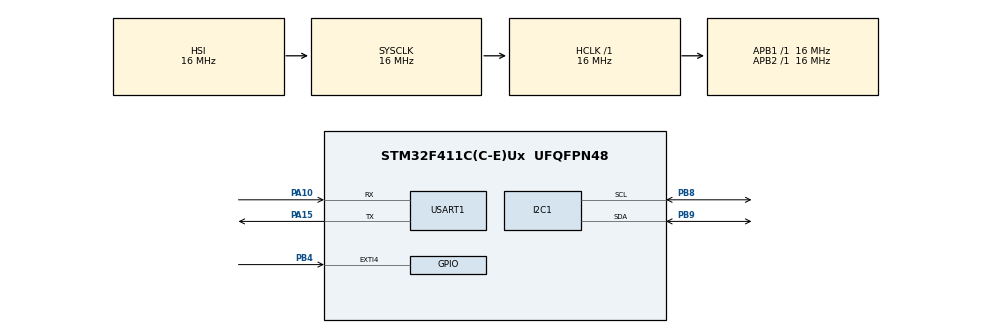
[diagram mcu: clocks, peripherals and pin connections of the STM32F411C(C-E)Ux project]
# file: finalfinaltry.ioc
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Mcu.Family=STM32F4
Mcu.Name=STM32F411C(C-E)Ux
Mcu.Package=UFQFPN48
NVIC.EXTI4_IRQn=true\:0\:0\:false\:false\:true\:true\:true\:true
NVIC.PriorityGroup=NVIC_PRIORITYGROUP_4
PA10.Mode=Asynchronous
PA10.Signal=USART1_RX
PA15.Mode=Asynchronous
PA15.Signal=USART1_TX
PB4.GPIO_ModeDefaultEXTI=GPIO_MODE_IT_FALLING
PB4.GPIO_PuPd=GPIO_PULLUP
PB4.Signal=GPXTI4
PB8.Mode=I2C
PB8.Signal=I2C1_SCL
PB9.Mode=I2C
PB9.Signal=I2C1_SDA
ProjectManager.HeapSize=0x200
ProjectManager.StackSize=0x400
ProjectManager.TargetToolchain=STM32CubeIDE
RCC.AHBFreq_Value=16000000
RCC.APB1Freq_Value=16000000
RCC.APB2Freq_Value=16000000
RCC.CortexFreq_Value=16000000
RCC.HSE_VALUE=25000000
RCC.HSI_VALUE=16000000
RCC.LSE_VALUE=32768
RCC.SYSCLKFreq_VALUE=16000000
RCC.VCOOutputFreq_Value=192000000
USART1.VirtualMode=VM_ASYNC
board=custom

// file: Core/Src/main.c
/* USER CODE BEGIN Header */
/**
  ******************************************************************************
  * @file           : main.c
  * @brief          : Main program body
  ******************************************************************************
  * @attention
  *
  * Copyright (c) 2024 STMicroelectronics.
  * All rights reserved.
  *
  * This software is licensed under terms that can be found in the LICENSE file
  * in the root directory of this software component.
  * If no LICENSE file comes with this software, it is provided AS-IS.
  *
  ******************************************************************************
  */
/* USER CODE END Header */
#include "main.h"

/* USER CODE BEGIN Includes */
#include "ssd1306.h"
#include "ssd1306_tests.h"
#include "max30102_for_stm32_hal.h"
/* USER CODE END Includes */

I2C_HandleTypeDef hi2c1;

UART_HandleTypeDef huart1;

/* USER CODE BEGIN PV */
max30102_t max30102;
/* USER CODE END PV */

void SystemClock_Config(void);
static void MX_GPIO_Init(void);
static void MX_I2C1_Init(void);
static void MX_USART1_UART_Init(void);
/* USER CODE BEGIN PFP */
static void MX_I2C1_Init(void);
/* USER CODE END PFP */

int main(void)
{

  /* MCU Configuration--------------------------------------------------------*/

  /* Reset of all peripherals, Initializes the Flash interface and the Systick. */

	HAL_Init();

  /* Configure the system clock */
  SystemClock_Config();

  /* Initialize all configured peripherals */
  MX_GPIO_Init();
  MX_I2C1_Init();
  MX_USART1_UART_Init();
  /* USER CODE BEGIN 2 */
  // Short delay after initialization
  ssd1306_Init();

  max30102_init(&max30102, &hi2c1);
  max30102_reset(&max30102);
  max30102_clear_fifo(&max30102);
  // FIFO configurations
  max30102_set_fifo_config(&max30102, max30102_smp_ave_8, 1, 7);
  // LED configurations
  max30102_set_led_pulse_width(&max30102, max30102_pw_16_bit);
    max30102_set_adc_resolution(&max30102, max30102_adc_2048);
    max30102_set_sampling_rate(&max30102, max30102_sr_800);
  max30102_set_led_current_1(&max30102, 6.2);
  max30102_set_led_current_2(&max30102, 6.2);
  // Enter SpO2 mode
  max30102_set_mode(&max30102, max30102_spo2);
  // Enable FIFO_A_FULL interrupt
  max30102_set_a_full(&max30102, 1);
  // Enable die temperature measurement
  max30102_set_die_temp_en(&max30102, 1);
  // Enable DIE_TEMP_RDY interrupt
  max30102_set_die_temp_rdy(&max30102, 1);
  /* USER CODE END 2 */

  /* Infinite loop */
  while (1)
  {

    /* USER CODE BEGIN 3 */
	  /*ssd1306_TestFonts1();*/
	  // If interrupt flag is active
	  /*HAL_Delay(1000);*/
	  max30102_interrupt_handler(&max30102);
	   /*if (max30102_has_interrupt(&max30102))
	     // Run interrupt handler to read FIFO
	     //max30102_interrupt_handler(&max30102);
		   ssd1306_TestFPS();*/
  }
  /* USER CODE END 3 */
}

void SystemClock_Config(void)
{
  RCC_OscInitTypeDef RCC_OscInitStruct = {0};
  RCC_ClkInitTypeDef RCC_ClkInitStruct = {0};

  /** Configure the main internal regulator output voltage
  */
  __HAL_RCC_PWR_CLK_ENABLE();
  __HAL_PWR_VOLTAGESCALING_CONFIG(PWR_REGULATOR_VOLTAGE_SCALE1);

  /** Initializes the RCC Oscillators according to the specified parameters
  * in the RCC_OscInitTypeDef structure.
  */
  RCC_OscInitStruct.OscillatorType = RCC_OSCILLATORTYPE_HSI;
  RCC_OscInitStruct.HSIState = RCC_HSI_ON;
  RCC_OscInitStruct.HSICalibrationValue = RCC_HSICALIBRATION_DEFAULT;
  RCC_OscInitStruct.PLL.PLLState = RCC_PLL_NONE;
  if (HAL_RCC_OscConfig(&RCC_OscInitStruct) != HAL_OK)
  {
    Error_Handler();
  }

  /** Initializes the CPU, AHB and APB buses clocks
  */
  RCC_ClkInitStruct.ClockType = RCC_CLOCKTYPE_HCLK|RCC_CLOCKTYPE_SYSCLK
                              |RCC_CLOCKTYPE_PCLK1|RCC_CLOCKTYPE_PCLK2;
  RCC_ClkInitStruct.SYSCLKSource = RCC_SYSCLKSOURCE_HSI;
  RCC_ClkInitStruct.AHBCLKDivider = RCC_SYSCLK_DIV1;
  RCC_ClkInitStruct.APB1CLKDivider = RCC_HCLK_DIV1;
  RCC_ClkInitStruct.APB2CLKDivider = RCC_HCLK_DIV1;

  if (HAL_RCC_ClockConfig(&RCC_ClkInitStruct, FLASH_LATENCY_0) != HAL_OK)
  {
    Error_Handler();
  }
}

static void MX_I2C1_Init(void)
{

  hi2c1.Instance = I2C1;
  hi2c1.Init.ClockSpeed = 100000;
  hi2c1.Init.DutyCycle = I2C_DUTYCYCLE_2;
  hi2c1.Init.OwnAddress1 = 0;
  hi2c1.Init.AddressingMode = I2C_ADDRESSINGMODE_7BIT;
  hi2c1.Init.DualAddressMode = I2C_DUALADDRESS_DISABLE;
  hi2c1.Init.OwnAddress2 = 0;
  hi2c1.Init.GeneralCallMode = I2C_GENERALCALL_DISABLE;
  hi2c1.Init.NoStretchMode = I2C_NOSTRETCH_DISABLE;
  if (HAL_I2C_Init(&hi2c1) != HAL_OK)
  {
    Error_Handler();
  }

}

static void MX_USART1_UART_Init(void)
{

  huart1.Instance = USART1;
  huart1.Init.BaudRate = 115200;
  huart1.Init.WordLength = UART_WORDLENGTH_8B;
  huart1.Init.StopBits = UART_STOPBITS_1;
  huart1.Init.Parity = UART_PARITY_NONE;
  huart1.Init.Mode = UART_MODE_TX_RX;
  huart1.Init.HwFlowCtl = UART_HWCONTROL_NONE;
  huart1.Init.OverSampling = UART_OVERSAMPLING_16;
  if (HAL_UART_Init(&huart1) != HAL_OK)
  {
    Error_Handler();
  }

}

static void MX_GPIO_Init(void)
{
  GPIO_InitTypeDef GPIO_InitStruct = {0};

  /* GPIO Ports Clock Enable */
  __HAL_RCC_GPIOA_CLK_ENABLE();
  __HAL_RCC_GPIOB_CLK_ENABLE();

  /*Configure GPIO pin : PB4 */
  GPIO_InitStruct.Pin = GPIO_PIN_4;
  GPIO_InitStruct.Mode = GPIO_MODE_IT_FALLING;
  GPIO_InitStruct.Pull = GPIO_PULLUP;
  HAL_GPIO_Init(GPIOB, &GPIO_InitStruct);

  /* EXTI interrupt init*/
  HAL_NVIC_SetPriority(EXTI4_IRQn, 0, 0);
  HAL_NVIC_EnableIRQ(EXTI4_IRQn);

}

void Error_Handler(void)
{
  __disable_irq();
  while (1)
  {
  }
}
